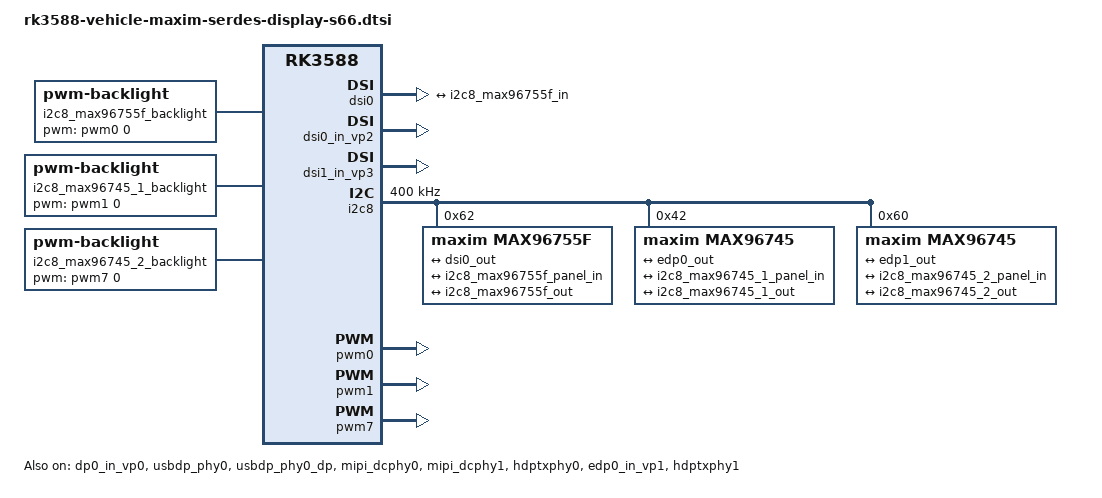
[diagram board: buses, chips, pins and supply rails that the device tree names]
// SPDX-License-Identifier: (GPL-2.0+ OR MIT)
/*
 * Copyright (c) 2022 Rockchip Electronics Co., Ltd.
 */

#include <dt-bindings/display/media-bus-format.h>

/ {
	aliases {
		pinctrl0 = &pinctrl;
	};

	backlight {
		compatible = "simple-bus";
		#address-cells = <1>;
		#size-cells = <0>;

		i2c8_max96755f_backlight: backlight@0 {
			compatible = "pwm-backlight";
			reg = <0>;
			pwms = <&pwm0 0 1000000 0>;
			brightness-levels = <0 4 8 16 32 64 128 255>;
			default-brightness-level = <6>;
		};

		i2c8_max96745_1_backlight: backlight@1 {
			compatible = "pwm-backlight";
			reg = <0>;
			pwms = <&pwm1 0 1000000 0>;
			brightness-levels = <0 4 8 16 32 64 128 255>;
			default-brightness-level = <6>;
		};

		i2c8_max96745_2_backlight: backlight@2 {
			compatible = "pwm-backlight";
			reg = <0>;
			pwms = <&pwm7 0 1000000 0>;
			brightness-levels = <0 4 8 16 32 64 128 255>;
			default-brightness-level = <6>;
		};
	};
};

&dp0 {
	//split-mode;
	force-hpd;
	status = "disabled";
};

&dp0_in_vp0 {
	status = "okay";
};

&usbdp_phy0 {
	rockchip,dp-lane-mux = <0 1 2 3>;
	status = "okay";
};

&usbdp_phy0_dp {
	status = "okay";
};

&route_dp0 {
	connect = <&vp0_out_dp0>;
	status = "disabled";
};

&dp1 {
	force-hpd;
	status = "disabled";
};

&usbdp_phy1 {
	//rockchip,dp-lane-mux = <0 1 2 3>;
	status = "disabled";
};

&usbdp_phy1_dp {
	status = "disabled";
};

&dsi0 {
	status = "okay";

	ports {
		#address-cells = <1>;
		#size-cells = <0>;

		port@1 {
			reg = <1>;

			dsi0_out: endpoint {
				remote-endpoint = <&i2c8_max96755f_in>;
			};
		};
	};
};

&mipi_dcphy0 {
	status = "okay";
};

&dsi0_in_vp2 {
	status = "okay";
};

&route_dsi0 {
	connect = <&vp2_out_dsi0>;
	status = "disabled";
};

&dsi1 {
	status = "disabled";

	ports {
		#address-cells = <1>;
		#size-cells = <0>;

		port@1 {
			reg = <1>;

			dsi1_out: endpoint {
				//remote-endpoint = <&i2c6_max96755f_in>;
			};
		};
	};
};

&mipi_dcphy1 {
	status = "okay";
};

&dsi1_in_vp3 {
	status = "okay";
};

&route_dsi1 {
	connect = <&vp3_out_dsi1>;
	status = "disabled";
};

&edp0 {
	split-mode;
	force-hpd;
	status = "disabled";
};

&edp0_out {
	link-frequencies = /bits/ 64 <2700000000>;
	remote-endpoint = <&i2c8_max96745_1_in>;
};

&hdptxphy0 {
	status = "okay";
};

&edp0_in_vp1 {
	status = "okay";
};

&route_edp0 {
	connect = <&vp1_out_edp0>;
	status = "disabled";
};

&edp1 {
	force-hpd;
	status = "disabled";
};

&edp1_out {
	link-frequencies = /bits/ 64 <2700000000>;
	remote-endpoint = <&i2c8_max96745_2_in>;
};

&hdptxphy1 {
	status = "okay";
};

&hdmi0 {
	status = "disabled";
};

&hdmi1 {
	status = "disabled";
};

&hdptxphy_hdmi0 {
	status = "disabled";
};

&hdptxphy_hdmi1 {
	status = "disabled";
};

&i2c8 {
	pinctrl-0 = <&i2c8m4_xfer>;
	clock-frequency = <400000>;
	status = "okay";

	max96755f@62 {
		compatible = "maxim,max96755f";
		reg = <0x62>;
		pinctrl-names = "default";
		pinctrl-0 = <&i2c8_ser1_lock_pins>, <&i2c8_ser1_pwdnb_pins>;
		#address-cells = <1>;
		#size-cells = <0>;

		pinctrl {
			compatible = "maxim,max96755f-pinctrl";
			pinctrl-names = "default";
			pinctrl-0 = <&i2c8_max96755f_pinctrl_hog>;

			i2c8_max96755f_pinctrl_hog: hog {
				i2c {
					groups = "I2C";
					function = "I2C";
				};
			};

			i2c8_max96755f_panel_pins: panel-pins {
				bl-pwm {
					pins = "MFP7";
					function = "GPIO_TX_0";
				};

				tp-int {
					pins = "MFP8";
					function = "GPIO_RX_2";
				};
			};
		};

		bridge {
			compatible = "maxim,max96755f-bridge";
			lock-gpios = <&gpio1 RK_PA4 GPIO_ACTIVE_HIGH>;
			bridge_dual_link;

			ports {
				#address-cells = <1>;
				#size-cells = <0>;

				port@0 {
					reg = <0>;

					i2c8_max96755f_in: endpoint {
						remote-endpoint = <&dsi0_out>;
					};
				};

				port@1 {
					reg = <1>;

					i2c8_max96755f_out: endpoint {
						remote-endpoint = <&i2c8_max96755f_panel_in>;
					};
				};
			};
		};

		gmsl@0 {
			reg = <0>;
			clock-frequency = <400000>;
			#address-cells = <1>;
			#size-cells = <0>;

			ts@30 {
				compatible = "gac,gac_ts";
				reg = <0x30>;
				pinctrl-names = "pmx_ts_active","pmx_ts_suspend";
				pinctrl-0 = <&touch_pin>;
				pinctrl-1 = <&touch_pin>;
				interrupt-parent = <&gpio1>;
				interrupts = <RK_PB2 IRQ_TYPE_LEVEL_LOW>;
				gac,max_x = <2560>;
				gac,max_y = <1440>;
			};

			panel@48 {
				compatible = "boe,ae146m1t-l10";
				reg = <0x48>;
				backlight = <&i2c8_max96755f_backlight>;
				pinctrl-names = "default";
				pinctrl-0 = <&i2c8_max96755f_panel_pins>;
				panel_dual_link;

				panel-timing {
					clock-frequency = <303000000>;
					hactive = <2560>;
					vactive = <1440>;
					hfront-porch = <122>;
					hsync-len = <60>;
					hback-porch = <60>;
					vfront-porch = <340>;
					vsync-len = <2>;
					vback-porch = <20>;
					hsync-active = <0>;
					vsync-active = <0>;
					de-active = <0>;
					pixelclk-active = <0>;
				};

				port {
					i2c8_max96755f_panel_in: endpoint {
						remote-endpoint = <&i2c8_max96755f_out>;
					};
				};
			};
		};
	};
};

&i2c8 {
	status = "okay";

	max96745@42 {
		compatible = "maxim,max96745";
		reg = <0x42>;
		pinctrl-names = "default";
		pinctrl-0 = <&i2c8_ser2_lock_pins>;
		#address-cells = <1>;
		#size-cells = <0>;

		pinctrl {
			compatible = "maxim,max96745-pinctrl";
			pinctrl-names = "default";
			pinctrl-0 = <&i2c8_max96745_1_pinctrl_hog>;

			i2c8_max96745_1_pinctrl_hog: hog {
				i2c {
					groups = "I2C";
					function = "I2C";
				};
			};

			i2c8_max96745_1_panel_pins: panel-pins {
				bl-pwm {
					pins = "MFP11";
					function = "GPIO_TX_A_0";
				};
			};
		};

		bridge {
			compatible = "maxim,max96745-bridge";
			lock-gpios = <&gpio3 RK_PB0 GPIO_ACTIVE_HIGH>;

			ports {
				#address-cells = <1>;
				#size-cells = <0>;

				port@0 {
					reg = <0>;

					i2c8_max96745_1_in: endpoint {
						remote-endpoint = <&edp0_out>;
					};
				};

				port@1 {
					reg = <1>;

					i2c8_max96745_1_out: endpoint {
						remote-endpoint = <&i2c8_max96745_1_panel_in>;
					};
				};
			};
		};

		gmsl@0 {
			reg = <0>;
			clock-frequency = <400000>;
			#address-cells = <1>;
			#size-cells = <0>;

			panel@48 {
				compatible = "boe,av156fht-l83";
				reg = <0x48>;
				backlight = <&i2c8_max96745_1_backlight>;
				pinctrl-names = "default";
				pinctrl-0 = <&i2c8_max96745_1_panel_pins>;

				panel-timing {
					clock-frequency = <148500000>;
					hactive = <1920>;
					vactive = <1080>;
					hfront-porch = <20>;
					hsync-len = <20>;
					hback-porch = <20>;
					vfront-porch = <250>;
					vsync-len = <2>;
					vback-porch = <8>;
					hsync-active = <0>;
					vsync-active = <0>;
					de-active = <0>;
					pixelclk-active = <0>;
				};

				port {
					i2c8_max96745_1_panel_in: endpoint {
						remote-endpoint = <&i2c8_max96745_1_out>;
					};
				};
			};
		};
	};
};

&i2c8 {
	status = "okay";

	max96745@60 {
		compatible = "maxim,max96745";
		reg = <0x60>;
		pinctrl-names = "default";
		pinctrl-0 = <&i2c8_ser3_lock_pins>;
		#address-cells = <1>;
		#size-cells = <0>;

		pinctrl {
			compatible = "maxim,max96745-pinctrl";
			pinctrl-names = "default";
			pinctrl-0 = <&i2c8_max96745_2_pinctrl_hog>;

			i2c8_max96745_2_pinctrl_hog: hog {
				i2c {
					groups = "I2C";
					function = "I2C";
				};
			};

			i2c8_max96745_2_panel_pins: panel-pins {
				bl-pwm {
					pins = "MFP11";
					function = "GPIO_TX_A_0";
				};
			};
		};

		bridge {
			compatible = "maxim,max96745-bridge";
			lock-gpios = <&gpio4 RK_PC4 GPIO_ACTIVE_HIGH>;

			ports {
				#address-cells = <1>;
				#size-cells = <0>;

				port@0 {
					reg = <0>;

					i2c8_max96745_2_in: endpoint {
						remote-endpoint = <&edp1_out>;
					};
				};

				port@1 {
					reg = <1>;

					i2c8_max96745_2_out: endpoint {
						remote-endpoint = <&i2c8_max96745_2_panel_in>;
					};
				};
			};
		};

		gmsl@0 {
			reg = <0>;
			clock-frequency = <400000>;
			#address-cells = <1>;
			#size-cells = <0>;

			panel@48 {
				compatible = "boe,av156fht-l83";
				reg = <0x48>;
				backlight = <&i2c8_max96745_2_backlight>;
				pinctrl-names = "default";
				pinctrl-0 = <&i2c8_max96745_2_panel_pins>;

				panel-timing {
					clock-frequency = <148500000>;
					hactive = <1920>;
					vactive = <1080>;
					hfront-porch = <20>;
					hsync-len = <20>;
					hback-porch = <20>;
					vfront-porch = <250>;
					vsync-len = <2>;
					vback-porch = <8>;
					hsync-active = <0>;
					vsync-active = <0>;
					de-active = <0>;
					pixelclk-active = <0>;
				};

				port {
					i2c8_max96745_2_panel_in: endpoint {
						remote-endpoint = <&i2c8_max96745_2_out>;
					};
				};
			};
		};
	};
};

&pinctrl {
	serdes {
		i2c8_ser1_lock_pins: i2c8-ser1-lock-pins {
			rockchip,pins =
				<1 RK_PA4 RK_FUNC_GPIO &pcfg_pull_up>;
		};

		i2c8_ser2_lock_pins: i2c8-ser2-lock-pins {
			rockchip,pins =
				<3 RK_PB0 RK_FUNC_GPIO &pcfg_pull_up>;
		};

		i2c8_ser3_lock_pins: i2c8-ser3-lock-pins {
			rockchip,pins =
				<4 RK_PC4 RK_FUNC_GPIO &pcfg_pull_up>;
		};

		i2c8_ser1_errb_pins: i2c8-ser1-errb-pins {
			rockchip,pins =
				<1 RK_PA5 RK_FUNC_GPIO &pcfg_pull_up>;
		};

		i2c8_ser2_errb_pins: i2c8-ser2-errb-pins {
			rockchip,pins =
				<3 RK_PB1 RK_FUNC_GPIO &pcfg_pull_up>;
		};

		i2c8_ser3_errb_pins: i2c8-ser3-errb-pins {
			rockchip,pins =
				<4 RK_PC5 RK_FUNC_GPIO &pcfg_pull_up>;
		};

		i2c8_ser1_pwdnb_pins: i2c8-ser1-pwdnb-pins {
			rockchip,pins =
				<1 RK_PA3 RK_FUNC_GPIO &pcfg_pull_up>;
		};
	};

	touch {
		touch_pin: touch-pin {
			rockchip,pins =
				<1 RK_PB2 RK_FUNC_GPIO &pcfg_pull_up>;
		};
	};
};

&pwm0 {
	pinctrl-0 = <&pwm0m2_pins>;
	status = "okay";
};

&pwm1 {
	pinctrl-0 = <&pwm1m1_pins>;
	status = "okay";
};

&pwm7 {
	pinctrl-0 = <&pwm7m3_pins>;
	status = "okay";
};
